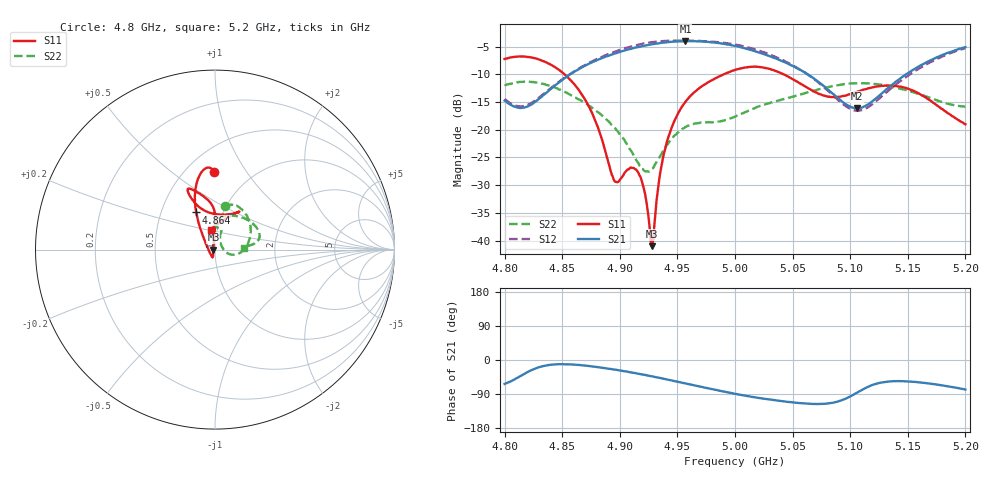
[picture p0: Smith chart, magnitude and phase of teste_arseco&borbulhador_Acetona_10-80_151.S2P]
! Network Analyzer HP8722D
! Hewlett-Packard
! Data name: Linha & Wilkinson
! Saver's name: Rodrigo Anjos
! Comments: Teste da utilização de aquisição
! continua pelo VNA HP8722D
! Time and date: 25/4/2025 16:31
!  Frequency  S11  S21  S12  S22
# HZ  S  MA R 50
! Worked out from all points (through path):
!   401 points, 4.8 GHz to 5.2 GHz, reference 50 ohm
!   highest |S21| = -3.99 dB at 4.957 GHz (marker M1); lowest = -16.1 dB at 5.106 GHz (marker M2)
!   lowest |S11| = -41.0 dB at 4.928 GHz (marker M3), VSWR 1.02, Z = 49.1 + j0.0363 ohm
!   |S11| at or under -10 dB: 4.852 GHz to 4.99 GHz (138.1 MHz wide, 2.81 % of centre); 5.042 GHz to end of sweep
!   |S22| runs from -27.6 to -11.3 dB; largest |S21 - S12| = 1.2
!   S11 on the Smith chart (normalised r, x): 4.8 GHz: 0.68, +0.73; 4.864 GHz: 0.75, +0.33; 5.2 GHz: 0.94, +0.21
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4.8e9  0.435 90.6  0.1834 -63.2  0.1891 70.3  0.2501 77.1
4.82e9  0.4535 97.0  0.1623 -31.7  0.1677 99.1  0.272 61.3
4.845e9  0.3596 107.4  0.2568 -11.4  0.2606 119.5  0.2381 33.8
4.864e9  0.2319 116.8  0.351 -12.9  0.3547 120.9  0.1888 11.7
4.867e9  0.2084 118.6  0.3651 -14.0  0.3702 120.5  0.1817 8.2
4.88e9  0.1117 129.2  0.4246 -18.5  0.4344 118.1  0.1473 -5.6
4.895e9  0.035 -173.9  0.4867 -25.2  0.5037 113.5  0.1055 -15.9
4.91e9  0.04547 -108.6  0.5383 -32.9  0.5639 106.9  0.06399 -13.1
4.917e9  0.03899 -106.4  0.5614 -36.6  0.589 103.3  0.04762 -0.3
4.921e9  0.0291 -110.9  0.5729 -39.0  0.6027 101.1  0.04285 13.7
4.928e9  0.008897 177.6  0.5925 -43.1  0.6179 96.7  0.04444 42.3
4.93e9  0.01372 126.7  0.5958 -44.5  0.6206 95.5  0.04757 48.5
4.934e9  0.0343 101.6  0.6032 -47.1  0.6292 93.0  0.05539 59.0
4.943e9  0.09115 91.6  0.6197 -52.5  0.6356 87.3  0.07825 69.1
4.957e9  0.1792 89.6  0.6318 -61.8  0.6378 78.3  0.1061 71.0
5e9  0.3469 109.1  0.5699 -89.2  0.5901 50.5  0.1313 88.3
5.03e9  0.3547 115.1  0.4617 -104.2  0.4787 33.8  0.1739 85.1
5.067e9  0.2262 105.5  0.2976 -115.7  0.2953 23.6  0.2222 56.8
5.106e9  0.22 64.7  0.1566 -86.0  0.1482 57.0  0.263 24.5
5.134e9  0.2505 57.4  0.2441 -56.7  0.2288 88.8  0.2472 12.3
5.169e9  0.1849 70.3  0.4199 -62.2  0.4036 84.6  0.1946 6.8
5.2e9  0.1121 101.0  0.5571 -77.8  0.5466 69.9  0.1613 3.6
